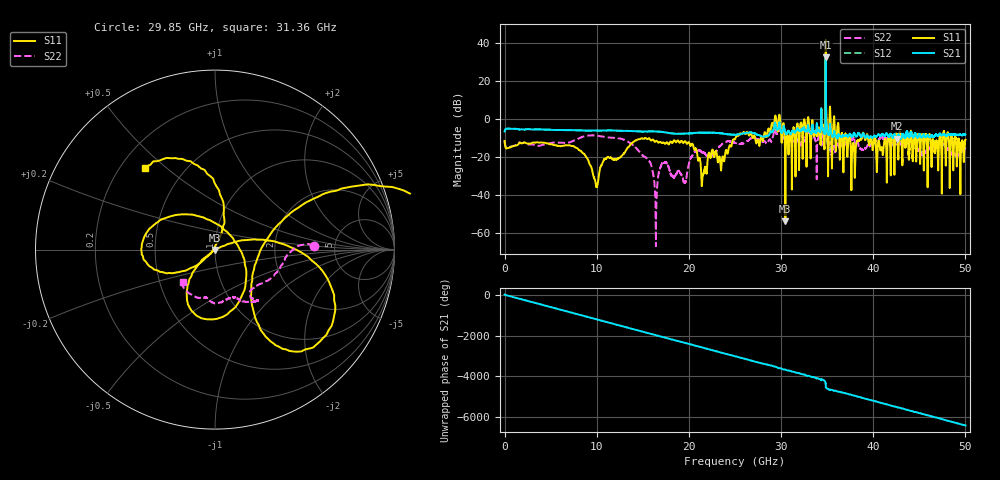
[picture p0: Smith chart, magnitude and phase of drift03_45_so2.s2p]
!Created with skrf (http://scikit-rf.org).
# Hz S RI R 50.0
!freq ReS11 ImS11 ReS21 ImS21 ReS12 ImS12 ReS22 ImS22
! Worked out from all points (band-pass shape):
!   10001 points, 300 kHz to 50 GHz, reference 50 ohm
!   highest |S21| = 32.40 dB at 34.85 GHz (marker M1); lowest = -10.3 dB at 42.56 GHz (marker M2)
!   |S21| within 3 dB of the highest: 34.84411 GHz to 34.84581 GHz (1.701 MHz wide, 0.00488 % of centre)
!   lowest |S11| = -53.6 dB at 30.47 GHz (marker M3), VSWR 1.00, Z = 49.9 - j0.16 ohm
!   |S11| at or under -10 dB: start of sweep to 15.23 GHz; 15.31 GHz to 25.05 GHz (9.74 GHz wide, 48.3 % of centre); 40.22 GHz to 41.62 GHz (1.399 GHz wide, 3.42 % of centre) (the widest 3 of 53)
!   |S22| runs from -66.7 to 23.3 dB; largest |S21 - S12| = 5.8
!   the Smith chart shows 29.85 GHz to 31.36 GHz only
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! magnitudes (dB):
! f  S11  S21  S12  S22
! 300 kHz  -11.5  -6.5  -6.5  -11.4
! 8.335 GHz  -17.1  -6.0  -6.0  -9.6
! 9.955 GHz  -35.5  -6.1  -6.1  -8.7
! 11 GHz  -20.9  -6.0  -6.0  -9.5
! 13.96 GHz  -12.2  -6.4  -6.3  -13.8
! 16.36 GHz  -11.9  -6.5  -6.5  -42.2
! 16.67 GHz  -12.4  -6.5  -6.5  -29.8
! 17.33 GHz  -12.7  -6.9  -6.9  -23.0
! 19.55 GHz  -11.7  -7.7  -7.7  -33.3
! 20.22 GHz  -13.9  -7.5  -7.5  -20.3
! 21.55 GHz  -28.6  -7.2  -7.2  -17.8
! 25 GHz  -10.6  -8.3  -8.2  -12.6
! 29.6 GHz  -5.5  -5.7  -5.9  -7.8
! 30.47 GHz  -53.6  -7.2  -7.2  -9.0
! 33.34 GHz  -3.7  -6.8  -6.7  -9.4
! 34.85 GHz  41.2  32.4  32.2  23.3
! 35.63 GHz  -5.8  -9.3  -9.3  -15.8
! 37.83 GHz  -12.7  -8.3  -8.4  -9.9
! 38.81 GHz  -8.9  -8.2  -8.2  -16.1
! 41.67 GHz  -9.4  -9.4  -9.3  -11.3
! 42.56 GHz  -8.3  -10.3  -10.5  -13.2
! 50 GHz  -10.8  -8.2  -8.2  -15.4
